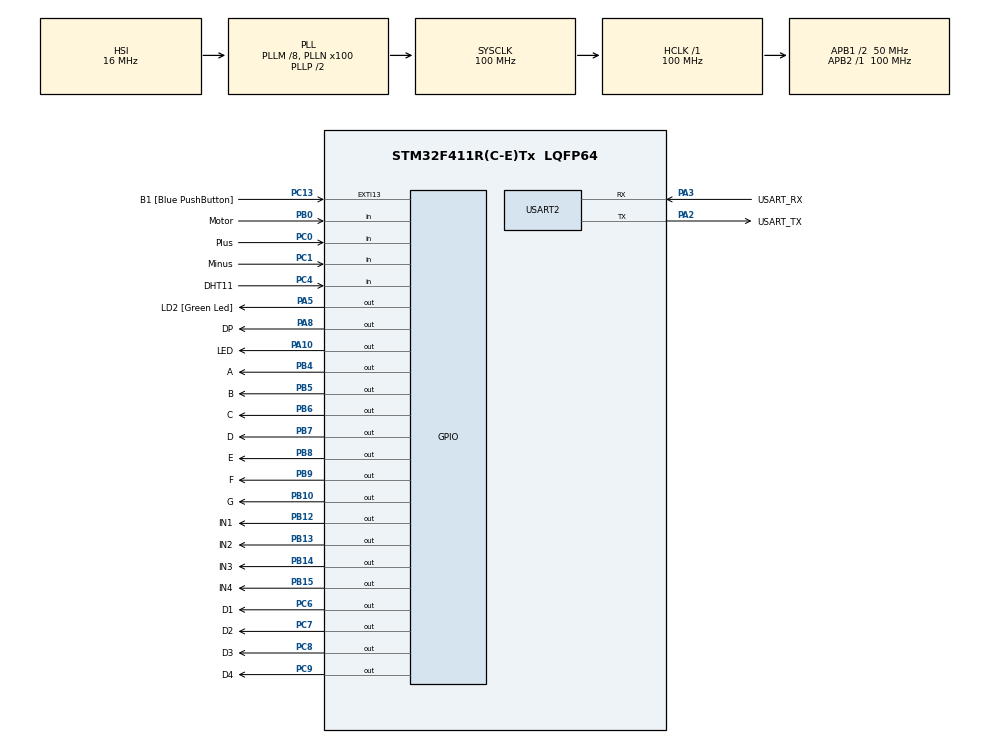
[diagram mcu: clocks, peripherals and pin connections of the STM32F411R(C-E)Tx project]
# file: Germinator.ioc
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Mcu.Family=STM32F4
Mcu.Name=STM32F411R(C-E)Tx
Mcu.Package=LQFP64
NVIC.PriorityGroup=NVIC_PRIORITYGROUP_4
NVIC.TIM4_IRQn=true\:0\:0\:false\:false\:true\:false\:true
NVIC.TimeBase=TIM4_IRQn
NVIC.TimeBaseIP=TIM4
PA10.GPIO_Label=LED
PA10.Signal=GPIO_Output
PA13.Mode=Serial_Wire
PA13.Signal=SYS_JTMS-SWDIO
PA14.GPIO_Label=TCK
PA14.Mode=Serial_Wire
PA14.Signal=SYS_JTCK-SWCLK
PA2.GPIO_Label=USART_TX
PA2.Mode=Asynchronous
PA2.Signal=USART2_TX
PA3.GPIO_Label=USART_RX
PA3.Mode=Asynchronous
PA3.Signal=USART2_RX
PA5.GPIO_Label=LD2 [Green Led]
PA5.Signal=GPIO_Output
PA8.GPIO_Label=DP
PA8.Signal=GPIO_Output
PB0.GPIO_Label=Motor
PB0.GPIO_PuPd=GPIO_PULLUP
PB0.Signal=GPIO_Input
PB10.GPIO_Label=G
PB10.Signal=GPIO_Output
PB12.GPIO_Label=IN1
PB12.GPIO_PuPd=GPIO_NOPULL
PB12.Signal=GPIO_Output
PB13.GPIO_Label=IN2
PB13.GPIO_PuPd=GPIO_NOPULL
PB13.Signal=GPIO_Output
PB14.GPIO_Label=IN3
PB14.Signal=GPIO_Output
PB15.GPIO_Label=IN4
PB15.Signal=GPIO_Output
PB3.GPIO_Label=SWO
PB3.Signal=SYS_JTDO-SWO
PB4.GPIO_Label=A
PB4.Signal=GPIO_Output
PB5.GPIO_Label=B
PB5.Signal=GPIO_Output
PB6.GPIO_Label=C
PB6.Signal=GPIO_Output
PB7.GPIO_Label=D
PB7.Signal=GPIO_Output
PB8.GPIO_Label=E
PB8.Signal=GPIO_Output
PB9.GPIO_Label=F
PB9.Signal=GPIO_Output
PC0.GPIO_Label=Plus
PC0.GPIO_PuPd=GPIO_PULLUP
PC0.Signal=GPIO_Input
PC1.GPIO_Label=Minus
PC1.GPIO_PuPd=GPIO_PULLUP
PC1.Signal=GPIO_Input
PC13-ANTI_TAMP.GPIO_Label=B1 [Blue PushButton]
PC13-ANTI_TAMP.GPIO_ModeDefaultEXTI=GPIO_MODE_IT_FALLING
PC13-ANTI_TAMP.Signal=GPXTI13
PC14-OSC32_IN.Mode=LSE-External-Oscillator
PC14-OSC32_IN.Signal=RCC_OSC32_IN
PC15-OSC32_OUT.Mode=LSE-External-Oscillator
PC15-OSC32_OUT.Signal=RCC_OSC32_OUT
PC4.GPIO_Label=DHT11
PC4.Signal=GPIO_Input
PC6.GPIO_Label=D1
PC6.Signal=GPIO_Output
PC7.GPIO_Label=D2
PC7.Signal=GPIO_Output
PC8.GPIO_Label=D3
PC8.Signal=GPIO_Output
PC9.GPIO_Label=D4
PC9.Signal=GPIO_Output
PH0\ -\ OSC_IN.Mode=HSE-External-Clock-Source
PH0\ -\ OSC_IN.Signal=RCC_OSC_IN
PH1\ -\ OSC_OUT.Mode=HSE-External-Clock-Source
PH1\ -\ OSC_OUT.Signal=RCC_OSC_OUT
ProjectManager.HeapSize=0x200
ProjectManager.StackSize=0x400
ProjectManager.TargetToolchain=STM32CubeIDE
RCC.48MHZClocksFreq_Value=50000000
RCC.AHBFreq_Value=100000000
RCC.APB1CLKDivider=RCC_HCLK_DIV2
RCC.APB1Freq_Value=50000000
RCC.APB1TimFreq_Value=100000000
RCC.APB2Freq_Value=100000000
RCC.APB2TimFreq_Value=100000000
RCC.CortexFreq_Value=100000000
RCC.FLatency-AdvancedSettings=FLASH_LATENCY_3
RCC.HCLKFreq_Value=100000000
RCC.HSE_VALUE=8000000
RCC.HSI_VALUE=16000000
RCC.PLLM=8
RCC.PLLN=100
RCC.SYSCLKFreq_VALUE=100000000
RCC.SYSCLKSource=RCC_SYSCLKSOURCE_PLLCLK
RCC.VCOOutputFreq_Value=200000000
USART2.VirtualMode=VM_ASYNC
VP_SYS_VS_tim4.Mode=TIM4
board=NUCLEO-F411RE

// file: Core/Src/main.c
/* USER CODE BEGIN Header */
/**
 ******************************************************************************
 * @file           : main.c
 * @brief          : Main program body
 ******************************************************************************
 * @attention
 *
 * <h2><center>&copy; Copyright (c) 2020 STMicroelectronics.
 * All rights reserved.</center></h2>
 *
 * This software component is licensed by ST under BSD 3-Clause license,
 * the "License"; You may not use this file except in compliance with the
 * License. You may obtain a copy of the License at:
 *                        opensource.org/licenses/BSD-3-Clause
 *
 ******************************************************************************
 */

/* USER CODE END Header */
#include "main.h"

/* USER CODE BEGIN Includes */
#include "sevensegment.h"
#include "stdio.h"
/* USER CODE END Includes */

UART_HandleTypeDef huart2;

/* USER CODE BEGIN PV */
int isMotorRunning = 0;
int temperature, humidity;
int ledTimeout = 0;
int tickClicked;
/* USER CODE END PV */

void SystemClock_Config(void);
static void MX_GPIO_Init(void);
static void MX_USART2_UART_Init(void);
/* USER CODE BEGIN PFP */
static void GPIO_Change_MODE(GPIO_TypeDef *GPIOx, uint16_t GPIO_Pin,
		uint32_t Mode);
int readButton(GPIO_TypeDef *GPIOx, uint16_t GPIO_Pin);
void runMotor();
void ssDisplayLightOnHour();
void ssDisplayDHT11();
void readDHT11();
/* USER CODE END PFP */

int main(void) {

	/* MCU Configuration--------------------------------------------------------*/

	/* Reset of all peripherals, Initializes the Flash interface and the Systick. */
	HAL_Init();

	/* Configure the system clock */
	SystemClock_Config();

	/* Initialize all configured peripherals */
	MX_GPIO_Init();
	MX_USART2_UART_Init();

	/* Infinite loop */
	/* USER CODE BEGIN WHILE */
	while (1) {
		if (readButton(Plus_GPIO_Port, Plus_Pin)) {
			if (ledTimeout < HAL_GetTick()) {
				ledTimeout = HAL_GetTick() + 3600000;

			} else if (ledTimeout - HAL_GetTick() < 356400000) {
				ledTimeout += 3600000;
			}

			tickClicked = HAL_GetTick();
		}

		if (readButton(Minus_GPIO_Port, Minus_Pin)) {
			if (ledTimeout > HAL_GetTick()) {

				if (ledTimeout - HAL_GetTick() < 3600000) {
					ledTimeout = HAL_GetTick();

				} else {
					ledTimeout -= 3600000;
				}
			}

			tickClicked = HAL_GetTick();
		}

		if (ledTimeout > HAL_GetTick()) {
			HAL_GPIO_WritePin(LED_GPIO_Port, LED_Pin, GPIO_PIN_SET);
		} else {
			HAL_GPIO_WritePin(LED_GPIO_Port, LED_Pin, GPIO_PIN_RESET);
		}

		if (readButton(Motor_GPIO_Port, Motor_Pin)) {
			isMotorRunning = !isMotorRunning;
		}

		if (HAL_GetTick() % 3000 == 0) {
			readDHT11(&temperature, &humidity);
		}

		if (HAL_GetTick() - tickClicked < 5000) {
			ssDisplayLightOnHour();
		} else {
			ssDisplayDHT11();
		}

		runMotor();

		/* USER CODE END WHILE */

	}
}

void SystemClock_Config(void) {
	RCC_OscInitTypeDef RCC_OscInitStruct = { 0 };
	RCC_ClkInitTypeDef RCC_ClkInitStruct = { 0 };

	/** Configure the main internal regulator output voltage
	 */
	__HAL_RCC_PWR_CLK_ENABLE();
	__HAL_PWR_VOLTAGESCALING_CONFIG(PWR_REGULATOR_VOLTAGE_SCALE1);
	/** Initializes the RCC Oscillators according to the specified parameters
	 * in the RCC_OscInitTypeDef structure.
	 */
	RCC_OscInitStruct.OscillatorType = RCC_OSCILLATORTYPE_HSI;
	RCC_OscInitStruct.HSIState = RCC_HSI_ON;
	RCC_OscInitStruct.HSICalibrationValue = RCC_HSICALIBRATION_DEFAULT;
	RCC_OscInitStruct.PLL.PLLState = RCC_PLL_ON;
	RCC_OscInitStruct.PLL.PLLSource = RCC_PLLSOURCE_HSI;
	RCC_OscInitStruct.PLL.PLLM = 8;
	RCC_OscInitStruct.PLL.PLLN = 100;
	RCC_OscInitStruct.PLL.PLLP = RCC_PLLP_DIV2;
	RCC_OscInitStruct.PLL.PLLQ = 4;
	if (HAL_RCC_OscConfig(&RCC_OscInitStruct) != HAL_OK) {
		Error_Handler();
	}
	/** Initializes the CPU, AHB and APB buses clocks
	 */
	RCC_ClkInitStruct.ClockType = RCC_CLOCKTYPE_HCLK | RCC_CLOCKTYPE_SYSCLK
			| RCC_CLOCKTYPE_PCLK1 | RCC_CLOCKTYPE_PCLK2;
	RCC_ClkInitStruct.SYSCLKSource = RCC_SYSCLKSOURCE_PLLCLK;
	RCC_ClkInitStruct.AHBCLKDivider = RCC_SYSCLK_DIV1;
	RCC_ClkInitStruct.APB1CLKDivider = RCC_HCLK_DIV2;
	RCC_ClkInitStruct.APB2CLKDivider = RCC_HCLK_DIV1;

	if (HAL_RCC_ClockConfig(&RCC_ClkInitStruct, FLASH_LATENCY_3) != HAL_OK) {
		Error_Handler();
	}
}

static void MX_USART2_UART_Init(void) {

	huart2.Instance = USART2;
	huart2.Init.BaudRate = 115200;
	huart2.Init.WordLength = UART_WORDLENGTH_8B;
	huart2.Init.StopBits = UART_STOPBITS_1;
	huart2.Init.Parity = UART_PARITY_NONE;
	huart2.Init.Mode = UART_MODE_TX_RX;
	huart2.Init.HwFlowCtl = UART_HWCONTROL_NONE;
	huart2.Init.OverSampling = UART_OVERSAMPLING_16;
	if (HAL_UART_Init(&huart2) != HAL_OK) {
		Error_Handler();
	}

}

static void MX_GPIO_Init(void) {
	GPIO_InitTypeDef GPIO_InitStruct = { 0 };

	/* GPIO Ports Clock Enable */
	__HAL_RCC_GPIOC_CLK_ENABLE();
	__HAL_RCC_GPIOH_CLK_ENABLE();
	__HAL_RCC_GPIOA_CLK_ENABLE();
	__HAL_RCC_GPIOB_CLK_ENABLE();

	/*Configure GPIO pin Output Level */
	HAL_GPIO_WritePin(GPIOA, LD2_Pin | DP_Pin | LED_Pin, GPIO_PIN_RESET);

	/*Configure GPIO pin Output Level */
	HAL_GPIO_WritePin(GPIOB,
			G_Pin | IN1_Pin | IN2_Pin | IN3_Pin | IN4_Pin | A_Pin | B_Pin
					| C_Pin | D_Pin | E_Pin | F_Pin, GPIO_PIN_RESET);

	/*Configure GPIO pin Output Level */
	HAL_GPIO_WritePin(GPIOC, D1_Pin | D2_Pin | D3_Pin | D4_Pin, GPIO_PIN_RESET);

	/*Configure GPIO pin : B1_Pin */
	GPIO_InitStruct.Pin = B1_Pin;
	GPIO_InitStruct.Mode = GPIO_MODE_IT_FALLING;
	GPIO_InitStruct.Pull = GPIO_NOPULL;
	HAL_GPIO_Init(B1_GPIO_Port, &GPIO_InitStruct);

	/*Configure GPIO pins : Plus_Pin Minus_Pin */
	GPIO_InitStruct.Pin = Plus_Pin | Minus_Pin;
	GPIO_InitStruct.Mode = GPIO_MODE_INPUT;
	GPIO_InitStruct.Pull = GPIO_PULLUP;
	HAL_GPIO_Init(GPIOC, &GPIO_InitStruct);

	/*Configure GPIO pins : LD2_Pin DP_Pin LED_Pin */
	GPIO_InitStruct.Pin = LD2_Pin | DP_Pin | LED_Pin;
	GPIO_InitStruct.Mode = GPIO_MODE_OUTPUT_PP;
	GPIO_InitStruct.Pull = GPIO_NOPULL;
	GPIO_InitStruct.Speed = GPIO_SPEED_FREQ_LOW;
	HAL_GPIO_Init(GPIOA, &GPIO_InitStruct);

	/*Configure GPIO pin : DHT11_Pin */
	GPIO_InitStruct.Pin = DHT11_Pin;
	GPIO_InitStruct.Mode = GPIO_MODE_INPUT;
	GPIO_InitStruct.Pull = GPIO_NOPULL;
	HAL_GPIO_Init(DHT11_GPIO_Port, &GPIO_InitStruct);

	/*Configure GPIO pin : Motor_Pin */
	GPIO_InitStruct.Pin = Motor_Pin;
	GPIO_InitStruct.Mode = GPIO_MODE_INPUT;
	GPIO_InitStruct.Pull = GPIO_PULLUP;
	HAL_GPIO_Init(Motor_GPIO_Port, &GPIO_InitStruct);

	/*Configure GPIO pins : G_Pin IN1_Pin IN2_Pin IN3_Pin
	 IN4_Pin A_Pin B_Pin C_Pin
	 D_Pin E_Pin F_Pin */
	GPIO_InitStruct.Pin = G_Pin | IN1_Pin | IN2_Pin | IN3_Pin | IN4_Pin | A_Pin
			| B_Pin | C_Pin | D_Pin | E_Pin | F_Pin;
	GPIO_InitStruct.Mode = GPIO_MODE_OUTPUT_PP;
	GPIO_InitStruct.Pull = GPIO_NOPULL;
	GPIO_InitStruct.Speed = GPIO_SPEED_FREQ_LOW;
	HAL_GPIO_Init(GPIOB, &GPIO_InitStruct);

	/*Configure GPIO pins : D1_Pin D2_Pin D3_Pin D4_Pin */
	GPIO_InitStruct.Pin = D1_Pin | D2_Pin | D3_Pin | D4_Pin;
	GPIO_InitStruct.Mode = GPIO_MODE_OUTPUT_PP;
	GPIO_InitStruct.Pull = GPIO_NOPULL;
	GPIO_InitStruct.Speed = GPIO_SPEED_FREQ_LOW;
	HAL_GPIO_Init(GPIOC, &GPIO_InitStruct);

}

/* USER CODE BEGIN 4 */

static void GPIO_Change_MODE(GPIO_TypeDef *GPIOx, uint16_t GPIO_Pin,
		uint32_t Mode) {
	GPIO_InitTypeDef GPIO_InitStruct;
	GPIO_InitStruct.Pin = GPIO_Pin;
	GPIO_InitStruct.Mode = Mode;
	GPIO_InitStruct.Pull = GPIO_NOPULL;
	HAL_GPIO_Init(GPIOx, &GPIO_InitStruct);
}

int readButton(GPIO_TypeDef *GPIOx, uint16_t GPIO_Pin) {
	if (HAL_GPIO_ReadPin(GPIOx, GPIO_Pin) == 0) {
		// Magic, let's wait for a bit
		HAL_Delay(10);
		// It is really still down
		if (HAL_GPIO_ReadPin(GPIOx, GPIO_Pin) == 0) {
			// Wait while the button is still down
			while (HAL_GPIO_ReadPin(GPIOx, GPIO_Pin) == 0)
				;

			return 1;
		}
	}

	return 0;
}

void runMotor() {
	if (isMotorRunning) {
		HAL_GPIO_WritePin(GPIOB, GPIO_PIN_12, GPIO_PIN_SET);
		HAL_GPIO_WritePin(GPIOB, GPIO_PIN_13, GPIO_PIN_RESET);
		HAL_GPIO_WritePin(GPIOB, GPIO_PIN_14, GPIO_PIN_RESET);
		HAL_GPIO_WritePin(GPIOB, GPIO_PIN_15, GPIO_PIN_RESET);
		HAL_Delay(2);

		HAL_GPIO_WritePin(GPIOB, GPIO_PIN_12, GPIO_PIN_RESET);
		HAL_GPIO_WritePin(GPIOB, GPIO_PIN_13, GPIO_PIN_SET);
		HAL_GPIO_WritePin(GPIOB, GPIO_PIN_14, GPIO_PIN_RESET);
		HAL_GPIO_WritePin(GPIOB, GPIO_PIN_15, GPIO_PIN_RESET);
		HAL_Delay(2);

		HAL_GPIO_WritePin(GPIOB, GPIO_PIN_12, GPIO_PIN_RESET);
		HAL_GPIO_WritePin(GPIOB, GPIO_PIN_13, GPIO_PIN_RESET);
		HAL_GPIO_WritePin(GPIOB, GPIO_PIN_14, GPIO_PIN_SET);
		HAL_GPIO_WritePin(GPIOB, GPIO_PIN_15, GPIO_PIN_RESET);
		HAL_Delay(2);

		HAL_GPIO_WritePin(GPIOB, GPIO_PIN_12, GPIO_PIN_RESET);
		HAL_GPIO_WritePin(GPIOB, GPIO_PIN_13, GPIO_PIN_RESET);
		HAL_GPIO_WritePin(GPIOB, GPIO_PIN_14, GPIO_PIN_RESET);
		HAL_GPIO_WritePin(GPIOB, GPIO_PIN_15, GPIO_PIN_SET);
		HAL_Delay(2);
	} else {
		HAL_GPIO_WritePin(GPIOB, GPIO_PIN_12, GPIO_PIN_RESET);
		HAL_GPIO_WritePin(GPIOB, GPIO_PIN_13, GPIO_PIN_RESET);
		HAL_GPIO_WritePin(GPIOB, GPIO_PIN_14, GPIO_PIN_RESET);
		HAL_GPIO_WritePin(GPIOB, GPIO_PIN_15, GPIO_PIN_RESET);
	}
}

void ssDisplayLightOnHour() {
	char buf[5] = "";

	if (ledTimeout > HAL_GetTick()) {
		int hours, minutes = 0;
		int diff = ledTimeout - HAL_GetTick();

		hours = diff / 3600000;
		minutes = (diff - (hours * 3600000)) / 60000;

		if (minutes < 10) {
			snprintf(buf, sizeof(buf), "%d0%d", hours, minutes);

		} else {
			snprintf(buf, sizeof(buf), "%d%d", hours, minutes);
		}

		int data = 0;
		sscanf(buf, "%d", &data);

		ssDisplay(data);

	} else {
		ssDisplay(0);
	}
}

void ssDisplayDHT11() {
	char buf[5] = "";
	snprintf(buf, sizeof(buf), "%d%d", (int) temperature, (int) humidity);

	int data = 0;
	sscanf(buf, "%d", &data);

	ssDisplay(data);
}

void readDHT11(int *pTemp, int *pHumi) {

	int i = 0, low_time = 0, high_time = 0;
	unsigned char data[40] = { 0 };

	GPIO_Change_MODE(DHT11_GPIO_Port, DHT11_Pin, GPIO_MODE_OUTPUT_PP);
	HAL_GPIO_WritePin(DHT11_GPIO_Port, DHT11_Pin, GPIO_PIN_RESET);
	HAL_Delay(20);
	HAL_GPIO_WritePin(DHT11_GPIO_Port, DHT11_Pin, GPIO_PIN_SET);
	GPIO_Change_MODE(DHT11_GPIO_Port, DHT11_Pin, GPIO_MODE_INPUT);

	/* Ignore the first HIGH, LOW, HIGH because they are initial signals */
	while (HAL_GPIO_ReadPin(DHT11_GPIO_Port, DHT11_Pin) == GPIO_PIN_SET)
		; /* Skip the HIGH signal reception before the initial signal */

	while (HAL_GPIO_ReadPin(DHT11_GPIO_Port, DHT11_Pin) == GPIO_PIN_RESET)
		; /* Wait until reception of initial LOW signal is completed */

	while (HAL_GPIO_ReadPin(DHT11_GPIO_Port, DHT11_Pin) == GPIO_PIN_SET)
		; /* Wait until reception of initial HIGH signal */

	/* Set 0 or 1 to data [0] to data [39] according to the length of LOW signal and HIGH signal.
	 * 1 The longer the better HIGH, the shorter if 0 signal
	 */

	for (i = 0; i < 40; i++) {
		low_time = high_time = 0;

		/* time measurement LOW signal */
		while (HAL_GPIO_ReadPin(DHT11_GPIO_Port, DHT11_Pin) == GPIO_PIN_RESET) {
			low_time++;
		}

		/* HIGH signal time measurement */
		while (HAL_GPIO_ReadPin(DHT11_GPIO_Port, DHT11_Pin) == GPIO_PIN_SET) {
			high_time++;
		}

		if (high_time > low_time) {
			data[i] = 1;
		} else {
			data[i] = 0;
		}
	}

	/* Humidity: Convert 8 bits of data [0] to data [7] to decimal
	 * Temperature: Convert 8 bits of
	 data [16] to data [23] to decimal

	 */

	*pHumi = data[0] * 128 + data[1] * 64 + data[2] * 32 + data[3] * 16
			+ data[4] * 8 + data[5] * 4 + data[6] * 2 + data[7] * 1;
	*pTemp = data[16] * 128 + data[17] * 64 + data[18] * 32 + data[19] * 16
			+ data[20] * 8 + data[21] * 4 + data[22] * 2 + data[23] * 1;
}

/* USER CODE END 4 */

void HAL_TIM_PeriodElapsedCallback(TIM_HandleTypeDef *htim) {
	if (htim->Instance == TIM4) {
		HAL_IncTick();
	}
}

void Error_Handler(void) {
}

/************************ (C) COPYRIGHT STMicroelectronics *****END OF FILE****/
